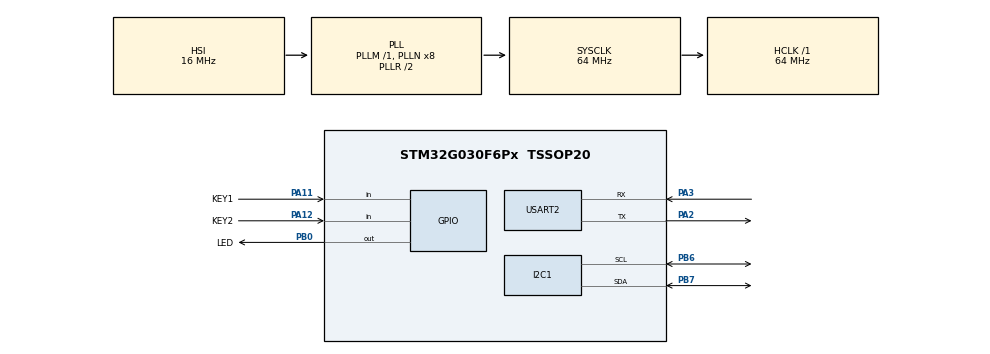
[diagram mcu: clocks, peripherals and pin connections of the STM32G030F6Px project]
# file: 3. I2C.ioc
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I2C1.Timing=0x10707DBC
Mcu.Family=STM32G0
Mcu.Name=STM32G030F6Px
Mcu.Package=TSSOP20
PA11\ [PA9].GPIO_Label=KEY1
PA11\ [PA9].Signal=GPIO_Input
PA12\ [PA10].GPIO_Label=KEY2
PA12\ [PA10].Signal=GPIO_Input
PA14-BOOT0__PA15.StandardMode=true
PA2.Mode=Asynchronous
PA2.Signal=USART2_TX
PA3.Mode=Asynchronous
PA3.Signal=USART2_RX
PB0.GPIO_Label=LED
PB0.PinState=GPIO_PIN_SET
PB0.Signal=GPIO_Output
PB0__PB1__PB2__PA8.StandardMode=true
PB3__PB4__PB5__PB6.StandardMode=true
PB6.Mode=I2C
PB6.Signal=I2C1_SCL
PB7.Mode=I2C
PB7.Signal=I2C1_SDA
PB7__PB8.StandardMode=true
PC14-OSC32_IN\ (PC14).Mode=LSE-External-Oscillator
PC14-OSC32_IN\ (PC14).Signal=RCC_OSC32_IN
PC14-OSC32_IN\ (PC14)__PB9.StandardMode=true
PC15-OSC32_OUT\ (PC15).Mode=LSE-External-Oscillator
PC15-OSC32_OUT\ (PC15).Signal=RCC_OSC32_OUT
ProjectManager.HeapSize=0x200
ProjectManager.StackSize=0x400
ProjectManager.TargetToolchain=MDK-ARM V5.32
RCC.ADCFreq_Value=64000000
RCC.AHBFreq_Value=64000000
RCC.CortexFreq_Value=64000000
RCC.EXTERNAL_CLOCK_VALUE=12288000
RCC.HCLKFreq_Value=64000000
RCC.HSE_VALUE=8000000
RCC.HSI_VALUE=16000000
RCC.SYSCLKFreq_VALUE=64000000
RCC.SYSCLKSource=RCC_SYSCLKSOURCE_PLLCLK
RCC.VCOOutputFreq_Value=128000000
USART2.VirtualMode-Asynchronous=VM_ASYNC
board=custom

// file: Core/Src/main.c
/* USER CODE BEGIN Header */
/**
  ******************************************************************************
  * @file           : main.c
  * @brief          : Main program body
  ******************************************************************************
  * @attention
  *
  * Copyright (c) 2023 STMicroelectronics.
  * All rights reserved.
  *
  * This software is licensed under terms that can be found in the LICENSE file
  * in the root directory of this software component.
  * If no LICENSE file comes with this software, it is provided AS-IS.
  *
  ******************************************************************************
  */
/* USER CODE END Header */
#include "main.h"
#include "i2c.h"
#include "usart.h"
#include "gpio.h"

/* USER CODE BEGIN Includes */

#include <stdio.h>

#include "24cxx.h"

/* USER CODE END Includes */

/* USER CODE BEGIN PD */

#define LED_PORT					GPIOB
#define LED_PIN						GPIO_PIN_0
#define LED_ON_STATE				GPIO_PIN_RESET
#define LED_OFF_STATE				GPIO_PIN_SET
#define LED_ON()\
			{\
				HAL_GPIO_WritePin(LED_PORT, LED_PIN, LED_ON_STATE);\
			}
#define LED_OFF()\
			{\
				HAL_GPIO_WritePin(LED_PORT, LED_PIN, LED_OFF_STATE);\
			}

/* USER CODE END PD */

/* USER CODE BEGIN PV */

static UART_HandleTypeDef* const serial = &huart2;
static const uint32_t time_Out = 0XFFFFFF;

#define AT24CXX_LABLE_CHECK		('T')
#define AT24CXX_LABLE_LEN		(28)
static const uint8_t at24cxx_lable[AT24CXX_LABLE_LEN] = "Hello AT24CXX!\r\nLOVE YOU!\r\n";
static const uint8_t at24cxx_lable_len = AT24CXX_LABLE_LEN - 1;

/* USER CODE END PV */

void SystemClock_Config(void);

int main(void)
{
  /* USER CODE BEGIN 1 */

	struct hw_device_24cxx at24c02;
	const char *at24c02_name = "at24c02";

  /* USER CODE END 1 */

  /* MCU Configuration--------------------------------------------------------*/

  /* Reset of all peripherals, Initializes the Flash interface and the Systick. */
  HAL_Init();

  /* Configure the system clock */
  SystemClock_Config();

  /* Initialize all configured peripherals */
  MX_GPIO_Init();
  MX_I2C1_Init();
  MX_USART2_UART_Init();
  /* USER CODE BEGIN 2 */

  while (HW_EOK != hw_device_at24cxx_register(&at24c02, at24c02_name, HW_NULL)) {
	  printf("AT24C02 register failed!\r\n");
	  HAL_Delay(1000);
  }
  at24c02.parent.init(&(at24c02.parent));
  if (at24c02.parent.control(&(at24c02.parent), 1, "check")) {
	  printf("AT24C02 error!\r\n");
  } else {
	  printf("AT24C02 ok!\r\n");
	  uint8_t data;
	  uint8_t addr = EE_TYPE - 2;
	  at24c02.parent.read(&(at24c02.parent), addr, &data, 1);
	  if (data != AT24CXX_LABLE_CHECK) {
		  printf("AT24C02 start recording lable!\r\n");
		  data = AT24CXX_LABLE_CHECK;
		  at24c02.parent.write(&(at24c02.parent), addr, &data, 1);
		  HAL_Delay(5);
		  at24c02.parent.write(&(at24c02.parent), 0X00, (uint8_t*)at24cxx_lable, at24cxx_lable_len);
		  HAL_Delay(5);
	  }
	  printf("AT24C02 lable: \r\n");
	  uint8_t rec_lable[AT24CXX_LABLE_LEN] = "";
	  at24c02.parent.read(&(at24c02.parent), 0X00, (uint8_t*)rec_lable, at24cxx_lable_len);
	  printf("%s\r\n", rec_lable);
  }

  /* USER CODE END 2 */

  /* Infinite loop */
  /* USER CODE BEGIN WHILE */
  while (1)
  {
	  LED_ON();
	  HAL_Delay(500);
	  LED_OFF();
	  HAL_Delay(500);
    /* USER CODE END WHILE */

  }
}

void SystemClock_Config(void)
{
  RCC_OscInitTypeDef RCC_OscInitStruct = {0};
  RCC_ClkInitTypeDef RCC_ClkInitStruct = {0};

  /** Configure the main internal regulator output voltage
  */
  HAL_PWREx_ControlVoltageScaling(PWR_REGULATOR_VOLTAGE_SCALE1);

  /** Initializes the RCC Oscillators according to the specified parameters
  * in the RCC_OscInitTypeDef structure.
  */
  RCC_OscInitStruct.OscillatorType = RCC_OSCILLATORTYPE_HSI;
  RCC_OscInitStruct.HSIState = RCC_HSI_ON;
  RCC_OscInitStruct.HSIDiv = RCC_HSI_DIV1;
  RCC_OscInitStruct.HSICalibrationValue = RCC_HSICALIBRATION_DEFAULT;
  RCC_OscInitStruct.PLL.PLLState = RCC_PLL_ON;
  RCC_OscInitStruct.PLL.PLLSource = RCC_PLLSOURCE_HSI;
  RCC_OscInitStruct.PLL.PLLM = RCC_PLLM_DIV1;
  RCC_OscInitStruct.PLL.PLLN = 8;
  RCC_OscInitStruct.PLL.PLLP = RCC_PLLP_DIV2;
  RCC_OscInitStruct.PLL.PLLR = RCC_PLLR_DIV2;
  if (HAL_RCC_OscConfig(&RCC_OscInitStruct) != HAL_OK)
  {
    Error_Handler();
  }

  /** Initializes the CPU, AHB and APB buses clocks
  */
  RCC_ClkInitStruct.ClockType = RCC_CLOCKTYPE_HCLK|RCC_CLOCKTYPE_SYSCLK
                              |RCC_CLOCKTYPE_PCLK1;
  RCC_ClkInitStruct.SYSCLKSource = RCC_SYSCLKSOURCE_PLLCLK;
  RCC_ClkInitStruct.AHBCLKDivider = RCC_SYSCLK_DIV1;
  RCC_ClkInitStruct.APB1CLKDivider = RCC_HCLK_DIV1;

  if (HAL_RCC_ClockConfig(&RCC_ClkInitStruct, FLASH_LATENCY_2) != HAL_OK)
  {
    Error_Handler();
  }
}

void Error_Handler(void)
{
  __disable_irq();
  while (1)
  {
  }
}
